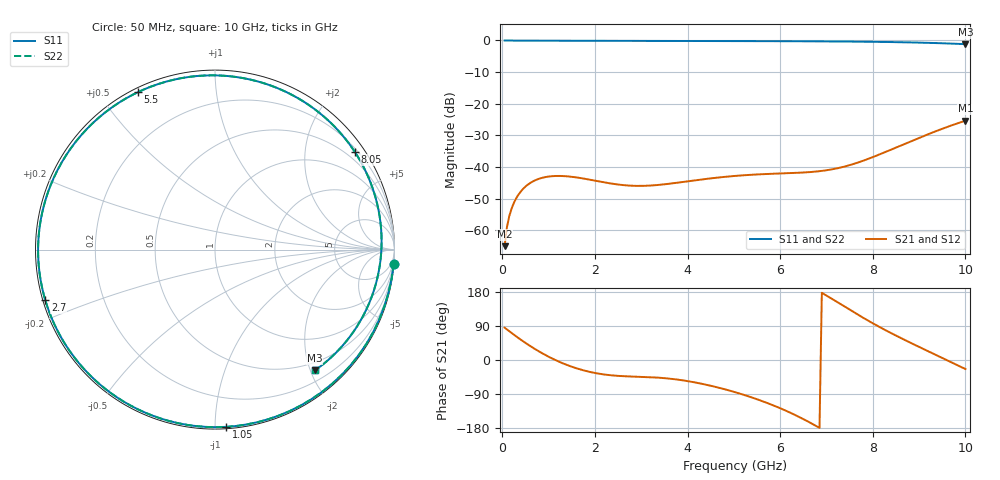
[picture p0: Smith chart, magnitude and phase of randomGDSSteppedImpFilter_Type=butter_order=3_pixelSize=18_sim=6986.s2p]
! freq	dB(S11)	phase(S11)	dB(S12)	phase(S12)
!  dB(S21)	phase(S21)	dB(S22)	phase(S22)
!S-par simulation data
#  GHz  S  DB  R 50
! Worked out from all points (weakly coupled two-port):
!   200 points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, 50 MHz to 10 GHz, reference 50 ohm
!   highest |S21| = -25.37 dB at 10 GHz (marker M1); lowest = -65.0 dB at 50 MHz (marker M2)
!   lowest |S11| = -1.2 dB at 10 GHz (marker M3), VSWR 14.79, Z = 18.2 - j104 ohm
!   |S11| at or under -10 dB: nowhere
!   |S22| runs from -1.2 to 0.0 dB; largest |S21 - S12| = 0
!   S11 on the Smith chart (normalised r, x): 50 MHz: 0, -25; 1.05 GHz: 0.01, -1.06; 2.7 GHz: 0.01, -0.15; 5.5 GHz: 0.02, +0.62; 8.05 GHz: 0.28, +3.16; 10 GHz: 0.36, -2.07
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0.05  -0.01 -4.5  -64.97 85.3  -64.97 85.3  -0.01 -4.5
0.1  -0.03 -9.1  -58.99 80.6  -58.99 80.6  -0.02 -9.1
0.15  -0.04 -13.7  -55.54 76.0  -55.54 76.0  -0.03 -13.7
0.35  -0.06 -31.9  -48.67 57.9  -48.67 57.9  -0.06 -31.9
0.7  -0.08 -61.2  -44.24 29.4  -44.24 29.4  -0.08 -61.2
1.05  -0.09 -86.4  -42.90 5.6  -42.90 5.6  -0.09 -86.5
1.35  -0.10 -104.9  -42.86 -10.9  -42.86 -10.9  -0.10 -104.9
1.75  -0.11 -125.7  -43.61 -27.2  -43.61 -27.2  -0.11 -125.7
2.2  -0.11 -145.1  -44.82 -38.3  -44.82 -38.3  -0.11 -145.1
2.7  -0.12 -163.4  -45.80 -43.2  -45.80 -43.2  -0.12 -163.4
3.4  -0.13 174.5  -45.59 -46.8  -45.59 -46.8  -0.13 174.5
4.2  -0.15 151.8  -44.11 -60.1  -44.11 -60.1  -0.15 151.8
5.05  -0.18 128.6  -42.76 -85.7  -42.76 -85.7  -0.18 128.6
5.5  -0.20 116.2  -42.32 -103.6  -42.32 -103.6  -0.20 116.2
6.7  -0.28 81.0  -41.51 -168.9  -41.51 -168.9  -0.28 81.0
7.4  -0.35 58.1  -39.80 140.4  -39.80 140.4  -0.35 58.2
8.05  -0.44 34.9  -36.56 93.5  -36.56 93.5  -0.44 34.9
8.35  -0.50 23.4  -34.77 73.8  -34.77 73.8  -0.50 23.4
8.8  -0.62 5.1  -32.00 46.3  -32.00 46.3  -0.62 5.2
9.2  -0.76 -12.3  -29.61 23.0  -29.61 23.0  -0.76 -12.2
9.6  -0.94 -30.7  -27.36 -0.1  -27.36 -0.1  -0.94 -30.7
10  -1.18 -50.4  -25.37 -23.8  -25.37 -23.8  -1.18 -50.4
